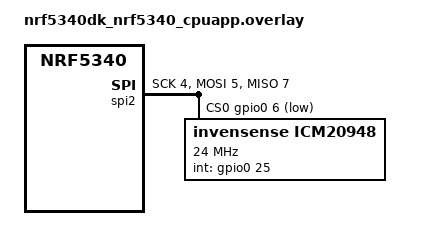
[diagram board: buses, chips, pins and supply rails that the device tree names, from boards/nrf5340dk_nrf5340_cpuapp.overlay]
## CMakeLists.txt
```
# SPDX-License-Identifier: Apache-2.0
list(APPEND ZEPHYR_EXTRA_MODULES
  ${CMAKE_CURRENT_SOURCE_DIR}/icm20948
  )

cmake_minimum_required(VERSION 3.20.0)
find_package(Zephyr REQUIRED HINTS $ENV{ZEPHYR_BASE})
project(blinky)

target_sources(app PRIVATE src/main.c)
```

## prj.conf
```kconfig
CONFIG_SPI=y
CONFIG_SENSOR=y
CONFIG_ICM20948=y
CONFIG_ICM20948_TRIGGER_OWN_THREAD=y

CONFIG_RTT_CONSOLE=y
CONFIG_USE_SEGGER_RTT=y

CONFIG_LOG=y
CONFIG_SENSOR_LOG_LEVEL_DBG=y
```

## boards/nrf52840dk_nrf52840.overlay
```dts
&led0 {
	gpios = <&gpio0 14 GPIO_ACTIVE_LOW>;
	label = "Green LED 0";
};
```

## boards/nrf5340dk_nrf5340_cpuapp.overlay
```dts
// &led0 {
// 	gpios = <&gpio0 25 GPIO_ACTIVE_LOW>;
// 	label = "Green LED 0";
// };

&spi2 {
	compatible = "nordic,nrf-spim";
	status = "okay";
	sck-pin = <4>;
	mosi-pin = <5>;
	miso-pin = <7>;
	cs-gpios = <&gpio0 6 GPIO_ACTIVE_LOW>;
	
	icm20948@0 {
		compatible = "invensense,icm20948";
		spi-max-frequency = <24000000>;
		reg = <0>;
		label = "ICM20948";
		int-gpios = <&gpio0 25 GPIO_ACTIVE_HIGH>;
	};
};
```

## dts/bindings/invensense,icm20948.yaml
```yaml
# Copyright (c) 2020 TDK Invensense
# SPDX-License-Identifier: Apache-2.0

description: ICM-20948 motion tracking device

# ICM-20948 is SPI.
compatible: "invensense,icm20948"

include: spi-device.yaml

properties:
    int-gpios:
      type: phandle-array
      required: true
      description: |
        The INT signal default configuration is active-high.  The
        property value should ensure the flags properly describe the
        signal that is presented to the driver.

    accel-hz:
      type: int
      required: false
      default: 12
      description: |
        Default frequency of accelerometer. (Unit - Hz)
        Maps to ACCEL_ODR field in ACCEL_CONFIG0 setting
      enum:
        - 1
        - 3
        - 6
        - 12
        - 25
        - 50
        - 100
        - 200
        - 500
        - 1000
        - 2000
        - 4000
        - 8000

    gyro-hz:
      type: int
      required: false
      default: 12
      description: |
        Default frequency of gyroscope. (Unit - Hz)
        Maps to GYRO_ODR field in GYRO_CONFIG0 setting
      enum:
        - 12
        - 25
        - 50
        - 100
        - 200
        - 500
        - 1000
        - 2000
        - 4000
        - 8000

    accel-fs:
      type: int
      required: false
      default: 16
      description: |
        Default full scale of accelerometer. (Unit - g)
        Maps to ACCEL_FS_SEL field in ACCEL_CONFIG0 setting
      enum:
        - 16
        - 8
        - 4
        - 2

    gyro-fs:
      type: int
      required: false
      default: 2000
      description: |
        Default full scale of gyroscope. (Unit - DPS)
        Maps to GYRO_FS_SEL field in GYRO_CONFIG0 setting
      enum:
        - 2000
        - 1000
        - 500
        - 250
        - 125
        - 62.5
        - 31.25
        - 15.625
```

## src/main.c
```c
/*
 * Copyright (c) 2016 Intel Corporation
 *
 * SPDX-License-Identifier: Apache-2.0
 */

#include <zephyr.h>
#include <device.h>
#include <devicetree.h>
#include <drivers/gpio.h>

/* 1000 msec = 1 sec */
#define SLEEP_TIME_MS   2000

/* The devicetree node identifier for the "led0" alias. */
#define LED0_NODE DT_ALIAS(led0)

#if DT_NODE_HAS_STATUS(LED0_NODE, okay)
#define LED0	DT_GPIO_LABEL(LED0_NODE, gpios)
#define PIN	DT_GPIO_PIN(LED0_NODE, gpios)
#define FLAGS	DT_GPIO_FLAGS(LED0_NODE, gpios)
#else
/* A build error here means your board isn't set up to blink an LED. */
#error "Unsupported board: led0 devicetree alias is not defined"
#define LED0	""
#define PIN	0
#define FLAGS	0
#endif

void main(void)
{
	const struct device *dev;
	bool led_is_on = true;
	int ret;

	dev = device_get_binding(LED0);
	if (dev == NULL) {
		return;
	}

	ret = gpio_pin_configure(dev, PIN, GPIO_OUTPUT_ACTIVE | FLAGS);
	if (ret < 0) {
		return;
	}

	while (1) {
		gpio_pin_set(dev, PIN, (int)led_is_on);
		led_is_on = !led_is_on;
		printk("Hello World, blink! %s\n", CONFIG_BOARD);
		k_msleep(SLEEP_TIME_MS);
	}
}
```
